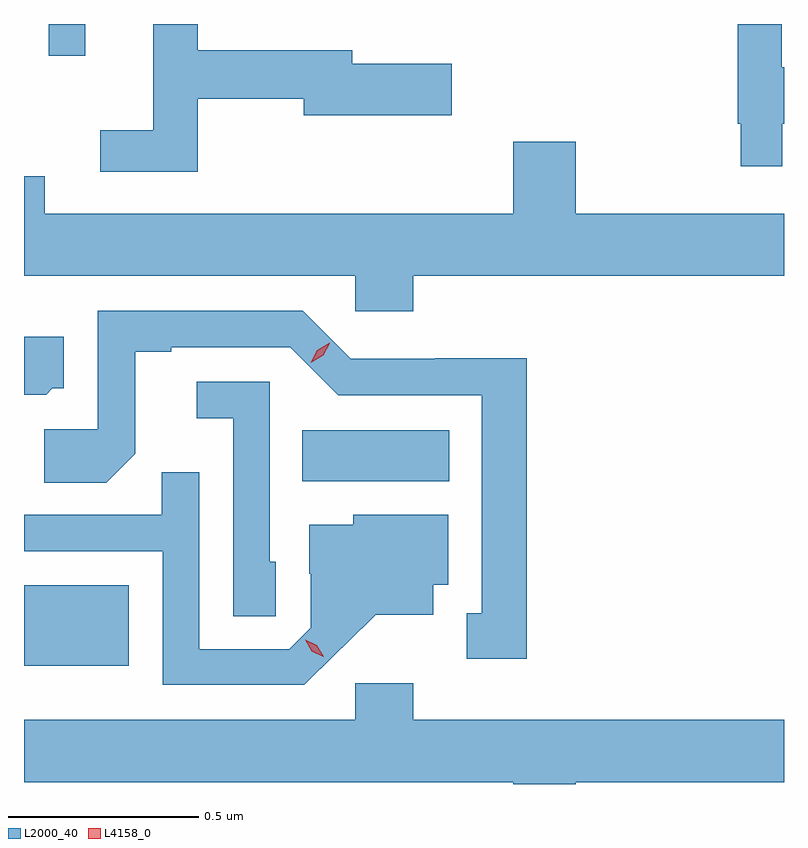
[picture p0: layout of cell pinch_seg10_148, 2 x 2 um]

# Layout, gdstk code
import gdstk
lib = gdstk.Library(unit=1e-6, precision=1e-09)
def R(c, l, rs):  # rectangles x0, y0, x1, y1
    for r in rs: c.add(gdstk.rectangle(r[:2], r[2:], *l))
def P(c, l, *ps):  # polygons
    for p in ps: c.add(gdstk.Polygon(p, *l))
L2000_40 = (2000, 40)
L4158_0 = (4158, 0)

pinch_seg10_148 = lib.new_cell('pinch_seg10_148')
R(pinch_seg10_148, L2000_40, [(727.156,1284.638,727.432,1284.85), (727.888,1285.124,728.275,1285.258), (727.221,1286.244,727.317,1286.327)])
P(pinch_seg10_148, L2000_40, [(727.613,1286.13),(727.892,1286.13),(727.892,1286.087),(728.281,1286.087),(728.281,1286.222),(728.02,1286.222),(728.02,1286.258),(727.613,1286.258),(727.613,1286.327),(727.496,1286.327),(727.496,1286.047),(727.356,1286.047),(727.356,1285.938),(727.613,1285.938)],
  [(729.152,1286.065),(729.156,1286.065),(729.156,1286.213),(729.15,1286.213),(729.15,1286.327),(729.034,1286.327),(729.034,1286.065),(729.042,1286.065),(729.042,1285.953),(729.152,1285.953)],
  [(728.18,1285.664),(729.156,1285.664),(729.156,1285.828),(728.608,1285.828),(728.608,1286.017),(728.444,1286.017),(728.444,1285.828),(727.21,1285.828),(727.21,1285.926),(727.156,1285.926),(727.156,1285.664),(728.028,1285.664),(728.028,1285.571),(728.18,1285.571)],
  [(728.479,1285.448),(728.238,1285.448),(728.238,1285.446),(728.016,1285.446),(727.89,1285.572),(727.35,1285.572),(727.35,1285.26),(727.209,1285.26),(727.209,1285.12),(727.373,1285.12),(727.449,1285.196),(727.449,1285.464),(727.543,1285.464),(727.543,1285.476),(727.857,1285.476),(727.983,1285.35),(728.36,1285.35),(728.36,1284.777),(728.321,1284.777),(728.321,1284.657),(728.479,1284.657)],
  [(727.23,1285.368),(727.261,1285.368),(727.261,1285.504),(727.156,1285.504),(727.156,1285.352),(727.214,1285.352)],
  [(727.818,1284.912),(727.803,1284.912),(727.803,1285.386),(727.611,1285.386),(727.611,1285.289),(727.707,1285.289),(727.707,1284.769),(727.818,1284.769)],
  [(727.978,1284.671),(728.005,1284.697),(728.081,1284.773),(728.233,1284.773),(728.233,1284.852),(728.272,1284.852),(728.272,1285.036),(728.022,1285.036),(728.022,1285.009),(727.907,1285.009),(727.907,1284.88),(727.911,1284.88),(727.911,1284.738),(727.854,1284.681),(727.617,1284.681),(727.617,1285.148),(727.519,1285.148),(727.519,1285.035),(727.156,1285.035),(727.156,1284.939),(727.521,1284.939),(727.521,1284.588),(727.894,1284.588)],
  [(728.608,1284.332),(729.156,1284.332),(729.156,1284.496),(728.18,1284.496),(728.18,1284.592),(728.028,1284.592),(728.028,1284.496),(727.156,1284.496),(727.156,1284.332),(728.444,1284.332),(728.444,1284.327),(728.608,1284.327)])
P(pinch_seg10_148, L4158_0, [(727.911,1285.436),(727.911,1285.436),(727.928,1285.468),(727.96,1285.488),(727.96,1285.488),(727.96,1285.487),(727.943,1285.455),(727.911,1285.436)],
  [(727.944,1284.662),(727.913,1284.677),(727.896,1284.706),(727.896,1284.706),(727.896,1284.706),(727.927,1284.692),(727.945,1284.662),(727.945,1284.662)])

lib.write_gds('pinch_seg10_148.gds')
